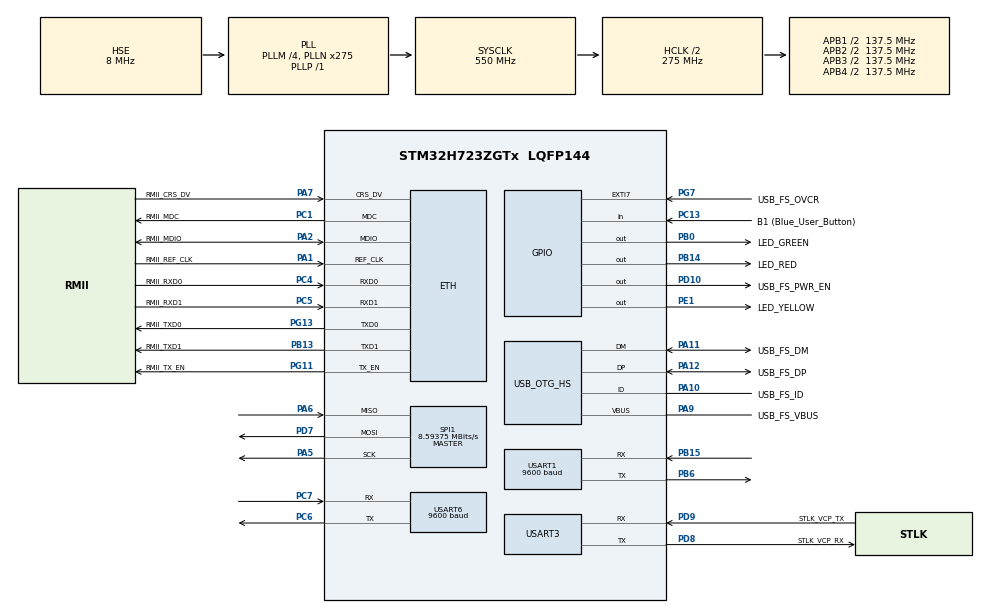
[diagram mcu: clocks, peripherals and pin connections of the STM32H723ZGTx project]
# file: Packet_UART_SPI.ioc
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Dma.Request0=USART1_RX
Dma.Request1=USART6_RX
Dma.Request2=SPI1_TX
Dma.SPI1_TX.2.Direction=DMA_MEMORY_TO_PERIPH
Dma.SPI1_TX.2.EventEnable=DISABLE
Dma.SPI1_TX.2.FIFOMode=DMA_FIFOMODE_DISABLE
Dma.SPI1_TX.2.Instance=DMA1_Stream2
Dma.SPI1_TX.2.MemDataAlignment=DMA_MDATAALIGN_BYTE
Dma.SPI1_TX.2.MemInc=DMA_MINC_ENABLE
Dma.SPI1_TX.2.Mode=DMA_NORMAL
Dma.SPI1_TX.2.PeriphDataAlignment=DMA_PDATAALIGN_BYTE
Dma.SPI1_TX.2.PeriphInc=DMA_PINC_DISABLE
Dma.SPI1_TX.2.Polarity=HAL_DMAMUX_REQ_GEN_RISING
Dma.SPI1_TX.2.Priority=DMA_PRIORITY_LOW
Dma.SPI1_TX.2.RequestNumber=1
Dma.SPI1_TX.2.SignalID=NONE
Dma.SPI1_TX.2.SyncEnable=DISABLE
Dma.SPI1_TX.2.SyncPolarity=HAL_DMAMUX_SYNC_NO_EVENT
Dma.SPI1_TX.2.SyncRequestNumber=1
Dma.SPI1_TX.2.SyncSignalID=NONE
Dma.USART1_RX.0.Direction=DMA_PERIPH_TO_MEMORY
Dma.USART1_RX.0.EventEnable=DISABLE
Dma.USART1_RX.0.FIFOMode=DMA_FIFOMODE_DISABLE
Dma.USART1_RX.0.Instance=DMA1_Stream0
Dma.USART1_RX.0.MemDataAlignment=DMA_MDATAALIGN_BYTE
Dma.USART1_RX.0.MemInc=DMA_MINC_ENABLE
Dma.USART1_RX.0.Mode=DMA_NORMAL
Dma.USART1_RX.0.PeriphDataAlignment=DMA_PDATAALIGN_BYTE
Dma.USART1_RX.0.PeriphInc=DMA_PINC_DISABLE
Dma.USART1_RX.0.Polarity=HAL_DMAMUX_REQ_GEN_RISING
Dma.USART1_RX.0.Priority=DMA_PRIORITY_LOW
Dma.USART1_RX.0.RequestNumber=1
Dma.USART1_RX.0.SignalID=NONE
Dma.USART1_RX.0.SyncEnable=DISABLE
Dma.USART1_RX.0.SyncPolarity=HAL_DMAMUX_SYNC_NO_EVENT
Dma.USART1_RX.0.SyncRequestNumber=1
Dma.USART1_RX.0.SyncSignalID=NONE
Dma.USART6_RX.1.Direction=DMA_PERIPH_TO_MEMORY
Dma.USART6_RX.1.EventEnable=DISABLE
Dma.USART6_RX.1.FIFOMode=DMA_FIFOMODE_DISABLE
Dma.USART6_RX.1.Instance=DMA1_Stream1
Dma.USART6_RX.1.MemDataAlignment=DMA_MDATAALIGN_BYTE
Dma.USART6_RX.1.MemInc=DMA_MINC_ENABLE
Dma.USART6_RX.1.Mode=DMA_NORMAL
Dma.USART6_RX.1.PeriphDataAlignment=DMA_PDATAALIGN_BYTE
Dma.USART6_RX.1.PeriphInc=DMA_PINC_DISABLE
Dma.USART6_RX.1.Polarity=HAL_DMAMUX_REQ_GEN_RISING
Dma.USART6_RX.1.Priority=DMA_PRIORITY_LOW
Dma.USART6_RX.1.RequestNumber=1
Dma.USART6_RX.1.SignalID=NONE
Dma.USART6_RX.1.SyncEnable=DISABLE
Dma.USART6_RX.1.SyncPolarity=HAL_DMAMUX_SYNC_NO_EVENT
Dma.USART6_RX.1.SyncRequestNumber=1
Dma.USART6_RX.1.SyncSignalID=NONE
ETH.MediaInterface=HAL_ETH_RMII_MODE
Mcu.Family=STM32H7
Mcu.Name=STM32H723ZGTx
Mcu.Package=LQFP144
NVIC.DMA1_Stream0_IRQn=true\:0\:0\:false\:false\:true\:false\:true\:true
NVIC.DMA1_Stream1_IRQn=true\:0\:0\:false\:false\:true\:false\:true\:true
NVIC.DMA1_Stream2_IRQn=true\:0\:0\:false\:false\:true\:false\:true\:true
NVIC.EXTI9_5_IRQn=true\:0\:0\:false\:false\:true\:true\:true\:true
NVIC.PriorityGroup=NVIC_PRIORITYGROUP_4
NVIC.SPI1_IRQn=true\:0\:0\:false\:false\:true\:true\:true\:true
NVIC.TIM16_IRQn=true\:0\:0\:false\:false\:true\:true\:true\:true
NVIC.TIM17_IRQn=true\:0\:0\:false\:false\:true\:true\:true\:true
NVIC.USART1_IRQn=true\:0\:0\:false\:false\:true\:true\:true\:true
NVIC.USART6_IRQn=true\:0\:0\:false\:false\:true\:true\:true\:true
PA1.GPIO_Label=RMII_REF_CLK
PA1.Mode=RMII
PA1.Signal=ETH_REF_CLK
PA10.GPIO_Label=USB_FS_ID
PA10.Mode=OTG/Dual-Role-Device-FS
PA10.Signal=USB_OTG_HS_ID
PA11.GPIO_Label=USB_FS_DM
PA11.Mode=OTG/Dual-Role-Device-FS
PA11.Signal=USB_OTG_HS_DM
PA12.GPIO_Label=USB_FS_DP
PA12.Mode=OTG/Dual-Role-Device-FS
PA12.Signal=USB_OTG_HS_DP
PA13(JTMS/SWDIO).GPIO_Label=SWDIO
PA13(JTMS/SWDIO).Mode=Trace_Asynchronous_SW
PA13(JTMS/SWDIO).Signal=DEBUG_JTMS-SWDIO
PA14(JTCK/SWCLK).GPIO_Label=SWCLK
PA14(JTCK/SWCLK).Mode=Trace_Asynchronous_SW
PA14(JTCK/SWCLK).Signal=DEBUG_JTCK-SWCLK
PA2.GPIO_Label=RMII_MDIO
PA2.Mode=RMII
PA2.Signal=ETH_MDIO
PA5.Mode=Full_Duplex_Master
PA5.Signal=SPI1_SCK
PA6.Mode=Full_Duplex_Master
PA6.Signal=SPI1_MISO
PA7.GPIO_Label=RMII_CRS_DV
PA7.Mode=RMII
PA7.Signal=ETH_CRS_DV
PA9.GPIO_Label=USB_FS_VBUS
PA9.Mode=Activate_VBUS_FS
PA9.Signal=USB_OTG_HS_VBUS
PB0.GPIO_Label=LED_GREEN
PB0.Signal=GPIO_Output
PB13.GPIO_Label=RMII_TXD1
PB13.Mode=RMII
PB13.Signal=ETH_TXD1
PB14.GPIO_Label=LED_RED
PB14.Signal=GPIO_Output
PB15.Mode=Asynchronous
PB15.Signal=USART1_RX
PB3(JTDO/TRACESWO).GPIO_Label=SWO
PB3(JTDO/TRACESWO).Mode=Trace_Asynchronous_SW
PB3(JTDO/TRACESWO).Signal=DEBUG_JTDO-SWO
PB6.Mode=Asynchronous
PB6.Signal=USART1_TX
PC1.GPIO_Label=RMII_MDC
PC1.Mode=RMII
PC1.Signal=ETH_MDC
PC13.GPIO_Label=B1 (Blue_User_Button)
PC13.Signal=GPIO_Input
PC14-OSC32_IN.Mode=LSE-External-Oscillator
PC14-OSC32_IN.Signal=RCC_OSC32_IN
PC15-OSC32_OUT.Mode=LSE-External-Oscillator
PC15-OSC32_OUT.Signal=RCC_OSC32_OUT
PC4.GPIO_Label=RMII_RXD0
PC4.Mode=RMII
PC4.Signal=ETH_RXD0
PC5.GPIO_Label=RMII_RXD1
PC5.Mode=RMII
PC5.Signal=ETH_RXD1
PC6.Mode=Asynchronous
PC6.Signal=USART6_TX
PC7.Mode=Asynchronous
PC7.Signal=USART6_RX
PD10.GPIO_Label=USB_FS_PWR_EN
PD10.Signal=GPIO_Output
PD7.Mode=Full_Duplex_Master
PD7.Signal=SPI1_MOSI
PD8.GPIO_Label=STLK_VCP_RX
PD8.Mode=Asynchronous
PD8.Signal=USART3_TX
PD9.GPIO_Label=STLK_VCP_TX
PD9.Mode=Asynchronous
PD9.Signal=USART3_RX
PE1.GPIO_Label=LED_YELLOW
PE1.Signal=GPIO_Output
PG11.GPIO_Label=RMII_TX_EN
PG11.Mode=RMII
PG11.Signal=ETH_TX_EN
PG13.GPIO_Label=RMII_TXD0
PG13.Mode=RMII
PG13.Signal=ETH_TXD0
PG7.GPIO_Label=USB_FS_OVCR
PG7.Signal=GPXTI7
PH0-OSC_IN.GPIO_Label=MCO
PH0-OSC_IN.Mode=HSE-External-Clock-Source
PH0-OSC_IN.Signal=RCC_OSC_IN
PH1-OSC_OUT.Signal=RCC_OSC_OUT
ProjectManager.HeapSize=0x200
ProjectManager.StackSize=0x400
ProjectManager.TargetToolchain=STM32CubeIDE
RCC.ADCFreq_Value=76000000
RCC.APB1Freq_Value=137500000
RCC.APB2Freq_Value=137500000
RCC.APB3Freq_Value=137500000
RCC.APB4Freq_Value=137500000
RCC.CortexFreq_Value=550000000
RCC.D1PPRE=RCC_APB3_DIV2
RCC.D2PPRE1=RCC_APB1_DIV2
RCC.D2PPRE2=RCC_APB2_DIV2
RCC.D3PPRE=RCC_APB4_DIV2
RCC.DIVM1=4
RCC.DIVM2=1
RCC.DIVN1=275
RCC.DIVN2=19
RCC.DIVP1=1
RCC.DIVQ1=4
RCC.HCLKFreq_Value=275000000
RCC.HPRE=RCC_HCLK_DIV2
RCC.HSE_VALUE=8000000
RCC.PLLFRACN=0
RCC.PLLSourceVirtual=RCC_PLLSOURCE_HSE
RCC.SYSCLKFreq_VALUE=550000000
RCC.SYSCLKSource=RCC_SYSCLKSOURCE_PLLCLK
RCC.USBCLockSelection=RCC_USBCLKSOURCE_HSI48
RCC.USBFreq_Value=48000000
SPI1.BaudRatePrescaler=SPI_BAUDRATEPRESCALER_16
SPI1.CalculateBaudRate=8.59375 MBits/s
SPI1.DataSize=SPI_DATASIZE_8BIT
SPI1.Direction=SPI_DIRECTION_2LINES
SPI1.Mode=SPI_MODE_MASTER
SPI1.VirtualType=VM_MASTER
TIM16.Period=10000-1
TIM16.Prescaler=27500-1
TIM17.Period=10000-1
TIM17.Prescaler=27500-1
USART1.BaudRate=9600
USART1.VirtualMode-Asynchronous=VM_ASYNC
USART3.VirtualMode-Asynchronous=VM_ASYNC
USART6.BaudRate=9600
USART6.VirtualMode-Asynchronous=VM_ASYNC
VP_TIM16_VS_ClockSourceINT.Mode=Enable_Timer
VP_TIM17_VS_ClockSourceINT.Mode=Enable_Timer
board=NUCLEO-H723ZG

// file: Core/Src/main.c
/* USER CODE BEGIN Header */
/**
  ******************************************************************************
  * @file           : main.c
  * @brief          : Main program body
  ******************************************************************************
  * @attention
  *
  * Copyright (c) 2024 STMicroelectronics.
  * All rights reserved.
  *
  * This software is licensed under terms that can be found in the LICENSE file
  * in the root directory of this software component.
  * If no LICENSE file comes with this software, it is provided AS-IS.
  *
  ******************************************************************************
  */
/* USER CODE END Header */
#include "main.h"
#include "string.h"

/* USER CODE BEGIN PD */
#define FIFO_SIZE  8

/* USER CODE END PD */

#if defined ( __ICCARM__ ) /*!< IAR Compiler */
#pragma location=0x30000000
ETH_DMADescTypeDef  DMARxDscrTab[ETH_RX_DESC_CNT]; /* Ethernet Rx DMA Descriptors */
#pragma location=0x30000200
ETH_DMADescTypeDef  DMATxDscrTab[ETH_TX_DESC_CNT]; /* Ethernet Tx DMA Descriptors */

#elif defined ( __CC_ARM )  /* MDK ARM Compiler */

__attribute__((at(0x30000000))) ETH_DMADescTypeDef  DMARxDscrTab[ETH_RX_DESC_CNT]; /* Ethernet Rx DMA Descriptors */
__attribute__((at(0x30000200))) ETH_DMADescTypeDef  DMATxDscrTab[ETH_TX_DESC_CNT]; /* Ethernet Tx DMA Descriptors */

#elif defined ( __GNUC__ ) /* GNU Compiler */
ETH_DMADescTypeDef DMARxDscrTab[ETH_RX_DESC_CNT] __attribute__((section(".RxDecripSection"))); /* Ethernet Rx DMA Descriptors */
ETH_DMADescTypeDef DMATxDscrTab[ETH_TX_DESC_CNT] __attribute__((section(".TxDecripSection")));   /* Ethernet Tx DMA Descriptors */

#endif

ETH_TxPacketConfig TxConfig;

ETH_HandleTypeDef heth;

SPI_HandleTypeDef hspi1;
DMA_HandleTypeDef hdma_spi1_tx;

TIM_HandleTypeDef htim16;
TIM_HandleTypeDef htim17;

UART_HandleTypeDef huart1;
UART_HandleTypeDef huart3;
UART_HandleTypeDef huart6;
DMA_HandleTypeDef hdma_usart1_rx;
DMA_HandleTypeDef hdma_usart6_rx;

void SystemClock_Config(void);
static void MX_GPIO_Init(void);
static void MX_DMA_Init(void);
static void MX_USART3_UART_Init(void);
static void MX_USB_OTG_HS_USB_Init(void);
static void MX_USART1_UART_Init(void);
static void MX_ETH_Init(void);
static void MX_TIM16_Init(void);
static void MX_USART6_UART_Init(void);
static void MX_TIM17_Init(void);
static void MX_SPI1_Init(void);

/* USER CODE BEGIN 0 */
uint8_t rx_buff[5];
uint16_t timer_val;
uint8_t counter = 0;
uint8_t test_buff[5];

char *PutPt;
char *GetPt;
char Fifo[FIFO_SIZE];

int GetFifo(uint8_t* data);
int PutFifo(char data);
void InitFifo(void);

void test();

/* USER CODE END 0 */

int main(void)
{

  /* MCU Configuration--------------------------------------------------------*/

  /* Reset of all peripherals, Initializes the Flash interface and the Systick. */
  HAL_Init();

  /* USER CODE BEGIN Init */
  void InitFifo(void);

  /* USER CODE END Init */

  /* Configure the system clock */
  SystemClock_Config();

  /* Initialize all configured peripherals */
  MX_GPIO_Init();
  MX_DMA_Init();
  MX_USART3_UART_Init();
  MX_USB_OTG_HS_USB_Init();
  MX_USART1_UART_Init();
  MX_ETH_Init();
  MX_TIM16_Init();
  MX_USART6_UART_Init();
  MX_TIM17_Init();
  MX_SPI1_Init();
  /* USER CODE BEGIN 2 */
  HAL_UART_Receive_DMA(&huart1, rx_buff, 1);
  HAL_UART_Receive_DMA(&huart6, rx_buff, 1);

  //HAL_UART_Receive(&huart1, rx_buff, 12, 70000);

  if (HAL_TIM_Base_Start_IT(&htim16) != HAL_OK)
  {
    /* Starting Error */
    Error_Handler();
  }
  if (HAL_TIM_Base_Start_IT(&htim17) != HAL_OK)
  {
    /* Starting Error */
    Error_Handler();
  }

  //timer_val = __HAL_TIM_GET_COUNTER(&htim16);
  /* USER CODE END 2 */

  /* Infinite loop */
  while (1)
  {

    /* USER CODE BEGIN 3 */
	 // if (__HAL_TIM_GET_COUNTER(&htim16) - timer_val >= 10000)
	 // {
		//  test();
		//  HAL_GPIO_TogglePin(GPIOB, GPIO_PIN_0);
		//  timer_val = __HAL_TIM_GET_COUNTER(&htim16);
	 // }

	 // HAL_UART_Receive(&huart1, rx_buff, 12, 1000);
	  HAL_GPIO_TogglePin(GPIOB, GPIO_PIN_14);
	  HAL_Delay(1000);

	  //HAL_GPIO_TogglePin(GPIOB, GPIO_PIN_0);
	  //HAL_GPIO_TogglePin(GPIOB, GPIO_PIN_14);
	  //HAL_Delay(1000);
  }
  /* USER CODE END 3 */
}

void SystemClock_Config(void)
{
  RCC_OscInitTypeDef RCC_OscInitStruct = {0};
  RCC_ClkInitTypeDef RCC_ClkInitStruct = {0};

  /** Supply configuration update enable
  */
  HAL_PWREx_ConfigSupply(PWR_LDO_SUPPLY);

  /** Configure the main internal regulator output voltage
  */
  __HAL_PWR_VOLTAGESCALING_CONFIG(PWR_REGULATOR_VOLTAGE_SCALE0);

  while(!__HAL_PWR_GET_FLAG(PWR_FLAG_VOSRDY)) {}

  /** Initializes the RCC Oscillators according to the specified parameters
  * in the RCC_OscInitTypeDef structure.
  */
  RCC_OscInitStruct.OscillatorType = RCC_OSCILLATORTYPE_HSI48|RCC_OSCILLATORTYPE_HSE;
  RCC_OscInitStruct.HSEState = RCC_HSE_BYPASS;
  RCC_OscInitStruct.HSI48State = RCC_HSI48_ON;
  RCC_OscInitStruct.PLL.PLLState = RCC_PLL_ON;
  RCC_OscInitStruct.PLL.PLLSource = RCC_PLLSOURCE_HSE;
  RCC_OscInitStruct.PLL.PLLM = 4;
  RCC_OscInitStruct.PLL.PLLN = 275;
  RCC_OscInitStruct.PLL.PLLP = 1;
  RCC_OscInitStruct.PLL.PLLQ = 4;
  RCC_OscInitStruct.PLL.PLLR = 2;
  RCC_OscInitStruct.PLL.PLLRGE = RCC_PLL1VCIRANGE_1;
  RCC_OscInitStruct.PLL.PLLVCOSEL = RCC_PLL1VCOWIDE;
  RCC_OscInitStruct.PLL.PLLFRACN = 0;
  if (HAL_RCC_OscConfig(&RCC_OscInitStruct) != HAL_OK)
  {
    Error_Handler();
  }

  /** Initializes the CPU, AHB and APB buses clocks
  */
  RCC_ClkInitStruct.ClockType = RCC_CLOCKTYPE_HCLK|RCC_CLOCKTYPE_SYSCLK
                              |RCC_CLOCKTYPE_PCLK1|RCC_CLOCKTYPE_PCLK2
                              |RCC_CLOCKTYPE_D3PCLK1|RCC_CLOCKTYPE_D1PCLK1;
  RCC_ClkInitStruct.SYSCLKSource = RCC_SYSCLKSOURCE_PLLCLK;
  RCC_ClkInitStruct.SYSCLKDivider = RCC_SYSCLK_DIV1;
  RCC_ClkInitStruct.AHBCLKDivider = RCC_HCLK_DIV2;
  RCC_ClkInitStruct.APB3CLKDivider = RCC_APB3_DIV2;
  RCC_ClkInitStruct.APB1CLKDivider = RCC_APB1_DIV2;
  RCC_ClkInitStruct.APB2CLKDivider = RCC_APB2_DIV2;
  RCC_ClkInitStruct.APB4CLKDivider = RCC_APB4_DIV2;

  if (HAL_RCC_ClockConfig(&RCC_ClkInitStruct, FLASH_LATENCY_3) != HAL_OK)
  {
    Error_Handler();
  }
}

static void MX_ETH_Init(void)
{

   static uint8_t MACAddr[6];

  heth.Instance = ETH;
  MACAddr[0] = 0x00;
  MACAddr[1] = 0x80;
  MACAddr[2] = 0xE1;
  MACAddr[3] = 0x00;
  MACAddr[4] = 0x00;
  MACAddr[5] = 0x00;
  heth.Init.MACAddr = &MACAddr[0];
  heth.Init.MediaInterface = HAL_ETH_RMII_MODE;
  heth.Init.TxDesc = DMATxDscrTab;
  heth.Init.RxDesc = DMARxDscrTab;
  heth.Init.RxBuffLen = 1524;

  if (HAL_ETH_Init(&heth) != HAL_OK)
  {
    Error_Handler();
  }

  memset(&TxConfig, 0 , sizeof(ETH_TxPacketConfig));
  TxConfig.Attributes = ETH_TX_PACKETS_FEATURES_CSUM | ETH_TX_PACKETS_FEATURES_CRCPAD;
  TxConfig.ChecksumCtrl = ETH_CHECKSUM_IPHDR_PAYLOAD_INSERT_PHDR_CALC;
  TxConfig.CRCPadCtrl = ETH_CRC_PAD_INSERT;

}

static void MX_SPI1_Init(void)
{

  /* SPI1 parameter configuration*/
  hspi1.Instance = SPI1;
  hspi1.Init.Mode = SPI_MODE_MASTER;
  hspi1.Init.Direction = SPI_DIRECTION_2LINES;
  hspi1.Init.DataSize = SPI_DATASIZE_8BIT;
  hspi1.Init.CLKPolarity = SPI_POLARITY_LOW;
  hspi1.Init.CLKPhase = SPI_PHASE_1EDGE;
  hspi1.Init.NSS = SPI_NSS_SOFT;
  hspi1.Init.BaudRatePrescaler = SPI_BAUDRATEPRESCALER_16;
  hspi1.Init.FirstBit = SPI_FIRSTBIT_MSB;
  hspi1.Init.TIMode = SPI_TIMODE_DISABLE;
  hspi1.Init.CRCCalculation = SPI_CRCCALCULATION_DISABLE;
  hspi1.Init.CRCPolynomial = 0x0;
  hspi1.Init.NSSPMode = SPI_NSS_PULSE_ENABLE;
  hspi1.Init.NSSPolarity = SPI_NSS_POLARITY_LOW;
  hspi1.Init.FifoThreshold = SPI_FIFO_THRESHOLD_01DATA;
  hspi1.Init.TxCRCInitializationPattern = SPI_CRC_INITIALIZATION_ALL_ZERO_PATTERN;
  hspi1.Init.RxCRCInitializationPattern = SPI_CRC_INITIALIZATION_ALL_ZERO_PATTERN;
  hspi1.Init.MasterSSIdleness = SPI_MASTER_SS_IDLENESS_00CYCLE;
  hspi1.Init.MasterInterDataIdleness = SPI_MASTER_INTERDATA_IDLENESS_00CYCLE;
  hspi1.Init.MasterReceiverAutoSusp = SPI_MASTER_RX_AUTOSUSP_DISABLE;
  hspi1.Init.MasterKeepIOState = SPI_MASTER_KEEP_IO_STATE_DISABLE;
  hspi1.Init.IOSwap = SPI_IO_SWAP_DISABLE;
  if (HAL_SPI_Init(&hspi1) != HAL_OK)
  {
    Error_Handler();
  }

}

static void MX_TIM16_Init(void)
{

  htim16.Instance = TIM16;
  htim16.Init.Prescaler = 27500-1;
  htim16.Init.CounterMode = TIM_COUNTERMODE_UP;
  htim16.Init.Period = 10000-1;
  htim16.Init.ClockDivision = TIM_CLOCKDIVISION_DIV1;
  htim16.Init.RepetitionCounter = 0;
  htim16.Init.AutoReloadPreload = TIM_AUTORELOAD_PRELOAD_DISABLE;
  if (HAL_TIM_Base_Init(&htim16) != HAL_OK)
  {
    Error_Handler();
  }

}

static void MX_TIM17_Init(void)
{

  htim17.Instance = TIM17;
  htim17.Init.Prescaler = 27500-1;
  htim17.Init.CounterMode = TIM_COUNTERMODE_UP;
  htim17.Init.Period = 10000-1;
  htim17.Init.ClockDivision = TIM_CLOCKDIVISION_DIV1;
  htim17.Init.RepetitionCounter = 0;
  htim17.Init.AutoReloadPreload = TIM_AUTORELOAD_PRELOAD_DISABLE;
  if (HAL_TIM_Base_Init(&htim17) != HAL_OK)
  {
    Error_Handler();
  }

}

static void MX_USART1_UART_Init(void)
{

  huart1.Instance = USART1;
  huart1.Init.BaudRate = 9600;
  huart1.Init.WordLength = UART_WORDLENGTH_8B;
  huart1.Init.StopBits = UART_STOPBITS_1;
  huart1.Init.Parity = UART_PARITY_NONE;
  huart1.Init.Mode = UART_MODE_TX_RX;
  huart1.Init.HwFlowCtl = UART_HWCONTROL_NONE;
  huart1.Init.OverSampling = UART_OVERSAMPLING_16;
  huart1.Init.OneBitSampling = UART_ONE_BIT_SAMPLE_DISABLE;
  huart1.Init.ClockPrescaler = UART_PRESCALER_DIV1;
  huart1.AdvancedInit.AdvFeatureInit = UART_ADVFEATURE_NO_INIT;
  if (HAL_UART_Init(&huart1) != HAL_OK)
  {
    Error_Handler();
  }
  if (HAL_UARTEx_SetTxFifoThreshold(&huart1, UART_TXFIFO_THRESHOLD_1_8) != HAL_OK)
  {
    Error_Handler();
  }
  if (HAL_UARTEx_SetRxFifoThreshold(&huart1, UART_RXFIFO_THRESHOLD_1_8) != HAL_OK)
  {
    Error_Handler();
  }
  if (HAL_UARTEx_DisableFifoMode(&huart1) != HAL_OK)
  {
    Error_Handler();
  }

}

static void MX_USART3_UART_Init(void)
{

  huart3.Instance = USART3;
  huart3.Init.BaudRate = 115200;
  huart3.Init.WordLength = UART_WORDLENGTH_8B;
  huart3.Init.StopBits = UART_STOPBITS_1;
  huart3.Init.Parity = UART_PARITY_NONE;
  huart3.Init.Mode = UART_MODE_TX_RX;
  huart3.Init.HwFlowCtl = UART_HWCONTROL_NONE;
  huart3.Init.OverSampling = UART_OVERSAMPLING_16;
  huart3.Init.OneBitSampling = UART_ONE_BIT_SAMPLE_DISABLE;
  huart3.Init.ClockPrescaler = UART_PRESCALER_DIV1;
  huart3.AdvancedInit.AdvFeatureInit = UART_ADVFEATURE_NO_INIT;
  if (HAL_UART_Init(&huart3) != HAL_OK)
  {
    Error_Handler();
  }
  if (HAL_UARTEx_SetTxFifoThreshold(&huart3, UART_TXFIFO_THRESHOLD_1_8) != HAL_OK)
  {
    Error_Handler();
  }
  if (HAL_UARTEx_SetRxFifoThreshold(&huart3, UART_RXFIFO_THRESHOLD_1_8) != HAL_OK)
  {
    Error_Handler();
  }
  if (HAL_UARTEx_DisableFifoMode(&huart3) != HAL_OK)
  {
    Error_Handler();
  }

}

static void MX_USART6_UART_Init(void)
{

  huart6.Instance = USART6;
  huart6.Init.BaudRate = 9600;
  huart6.Init.WordLength = UART_WORDLENGTH_8B;
  huart6.Init.StopBits = UART_STOPBITS_1;
  huart6.Init.Parity = UART_PARITY_NONE;
  huart6.Init.Mode = UART_MODE_TX_RX;
  huart6.Init.HwFlowCtl = UART_HWCONTROL_NONE;
  huart6.Init.OverSampling = UART_OVERSAMPLING_16;
  huart6.Init.OneBitSampling = UART_ONE_BIT_SAMPLE_DISABLE;
  huart6.Init.ClockPrescaler = UART_PRESCALER_DIV1;
  huart6.AdvancedInit.AdvFeatureInit = UART_ADVFEATURE_NO_INIT;
  if (HAL_UART_Init(&huart6) != HAL_OK)
  {
    Error_Handler();
  }
  if (HAL_UARTEx_SetTxFifoThreshold(&huart6, UART_TXFIFO_THRESHOLD_1_8) != HAL_OK)
  {
    Error_Handler();
  }
  if (HAL_UARTEx_SetRxFifoThreshold(&huart6, UART_RXFIFO_THRESHOLD_1_8) != HAL_OK)
  {
    Error_Handler();
  }
  if (HAL_UARTEx_DisableFifoMode(&huart6) != HAL_OK)
  {
    Error_Handler();
  }

}

static void MX_USB_OTG_HS_USB_Init(void)
{

}

static void MX_DMA_Init(void)
{

  /* DMA controller clock enable */
  __HAL_RCC_DMA1_CLK_ENABLE();

  /* DMA interrupt init */
  /* DMA1_Stream0_IRQn interrupt configuration */
  HAL_NVIC_SetPriority(DMA1_Stream0_IRQn, 0, 0);
  HAL_NVIC_EnableIRQ(DMA1_Stream0_IRQn);
  /* DMA1_Stream1_IRQn interrupt configuration */
  HAL_NVIC_SetPriority(DMA1_Stream1_IRQn, 0, 0);
  HAL_NVIC_EnableIRQ(DMA1_Stream1_IRQn);
  /* DMA1_Stream2_IRQn interrupt configuration */
  HAL_NVIC_SetPriority(DMA1_Stream2_IRQn, 0, 0);
  HAL_NVIC_EnableIRQ(DMA1_Stream2_IRQn);

}

static void MX_GPIO_Init(void)
{
  GPIO_InitTypeDef GPIO_InitStruct = {0};

  /* GPIO Ports Clock Enable */
  __HAL_RCC_GPIOC_CLK_ENABLE();
  __HAL_RCC_GPIOH_CLK_ENABLE();
  __HAL_RCC_GPIOA_CLK_ENABLE();
  __HAL_RCC_GPIOB_CLK_ENABLE();
  __HAL_RCC_GPIOD_CLK_ENABLE();
  __HAL_RCC_GPIOG_CLK_ENABLE();
  __HAL_RCC_GPIOE_CLK_ENABLE();

  /*Configure GPIO pin Output Level */
  HAL_GPIO_WritePin(GPIOB, LED_GREEN_Pin|LED_RED_Pin, GPIO_PIN_RESET);

  /*Configure GPIO pin Output Level */
  HAL_GPIO_WritePin(USB_FS_PWR_EN_GPIO_Port, USB_FS_PWR_EN_Pin, GPIO_PIN_RESET);

  /*Configure GPIO pin Output Level */
  HAL_GPIO_WritePin(LED_YELLOW_GPIO_Port, LED_YELLOW_Pin, GPIO_PIN_RESET);

  /*Configure GPIO pin : B1_Pin */
  GPIO_InitStruct.Pin = B1_Pin;
  GPIO_InitStruct.Mode = GPIO_MODE_INPUT;
  GPIO_InitStruct.Pull = GPIO_NOPULL;
  HAL_GPIO_Init(B1_GPIO_Port, &GPIO_InitStruct);

  /*Configure GPIO pins : LED_GREEN_Pin LED_RED_Pin */
  GPIO_InitStruct.Pin = LED_GREEN_Pin|LED_RED_Pin;
  GPIO_InitStruct.Mode = GPIO_MODE_OUTPUT_PP;
  GPIO_InitStruct.Pull = GPIO_NOPULL;
  GPIO_InitStruct.Speed = GPIO_SPEED_FREQ_LOW;
  HAL_GPIO_Init(GPIOB, &GPIO_InitStruct);

  /*Configure GPIO pin : USB_FS_PWR_EN_Pin */
  GPIO_InitStruct.Pin = USB_FS_PWR_EN_Pin;
  GPIO_InitStruct.Mode = GPIO_MODE_OUTPUT_PP;
  GPIO_InitStruct.Pull = GPIO_NOPULL;
  GPIO_InitStruct.Speed = GPIO_SPEED_FREQ_LOW;
  HAL_GPIO_Init(USB_FS_PWR_EN_GPIO_Port, &GPIO_InitStruct);

  /*Configure GPIO pin : USB_FS_OVCR_Pin */
  GPIO_InitStruct.Pin = USB_FS_OVCR_Pin;
  GPIO_InitStruct.Mode = GPIO_MODE_IT_RISING;
  GPIO_InitStruct.Pull = GPIO_NOPULL;
  HAL_GPIO_Init(USB_FS_OVCR_GPIO_Port, &GPIO_InitStruct);

  /*Configure GPIO pin : USB_FS_VBUS_Pin */
  GPIO_InitStruct.Pin = USB_FS_VBUS_Pin;
  GPIO_InitStruct.Mode = GPIO_MODE_INPUT;
  GPIO_InitStruct.Pull = GPIO_NOPULL;
  HAL_GPIO_Init(USB_FS_VBUS_GPIO_Port, &GPIO_InitStruct);

  /*Configure GPIO pin : USB_FS_ID_Pin */
  GPIO_InitStruct.Pin = USB_FS_ID_Pin;
  GPIO_InitStruct.Mode = GPIO_MODE_AF_PP;
  GPIO_InitStruct.Pull = GPIO_NOPULL;
  GPIO_InitStruct.Speed = GPIO_SPEED_FREQ_LOW;
  GPIO_InitStruct.Alternate = GPIO_AF10_OTG1_HS;
  HAL_GPIO_Init(USB_FS_ID_GPIO_Port, &GPIO_InitStruct);

  /*Configure GPIO pin : LED_YELLOW_Pin */
  GPIO_InitStruct.Pin = LED_YELLOW_Pin;
  GPIO_InitStruct.Mode = GPIO_MODE_OUTPUT_PP;
  GPIO_InitStruct.Pull = GPIO_NOPULL;
  GPIO_InitStruct.Speed = GPIO_SPEED_FREQ_LOW;
  HAL_GPIO_Init(LED_YELLOW_GPIO_Port, &GPIO_InitStruct);

  /* EXTI interrupt init*/
  HAL_NVIC_SetPriority(EXTI9_5_IRQn, 0, 0);
  HAL_NVIC_EnableIRQ(EXTI9_5_IRQn);

}

/* USER CODE BEGIN 4 */

void HAL_UART_RxCpltCallback(UART_HandleTypeDef *huart){

	counter++;
	PutFifo(rx_buff[0]);
	HAL_UART_Receive_DMA(&huart6, rx_buff, 1);
	if(counter >= 5){
		for(int i = 0; i < 5; i++){
				GetFifo(&test_buff[i]);
				counter = 0;

		}
		if(HAL_SPI_Transmit_IT(&hspi1, test_buff, sizeof(test_buff)) != HAL_OK){
			HAL_GPIO_TogglePin(GPIOE, GPIO_PIN_1);
		}
	}

}

void HAL_SPI_TxCpltCallback(SPI_HandleTypeDef * hspi){
	HAL_GPIO_TogglePin(GPIOB, GPIO_PIN_0);
}

void InitFifo(void) {

    PutPt = GetPt = &Fifo[0];
}

int PutFifo(char data) {

    char* Ppt;

    Ppt = PutPt;

    *(Ppt++) = data;

    if (Ppt == &Fifo[FIFO_SIZE]) {

        Ppt = &Fifo[0]; // wrap around

    }

    if (Ppt == GetPt) {
        return 0; // buffer full so fail
    }

    PutPt = Ppt;

    return 1;

}

int GetFifo(uint8_t* data) {

    if (GetPt == PutPt) {

        return 0; // buffer is empty
    }
    //data pointer gets pointed to the next GetPointer
    *data = *(GetPt++);
    if (GetPt == &Fifo[FIFO_SIZE]) {

        GetPt = &Fifo[0];
    }
    return 1;
}

void HAL_TIM_PeriodElapsedHalfCpltCallback(TIM_HandleTypeDef *htim){
	__NOP();
}

void HAL_TIM_PeriodElaspsedCallback(TIM_HandleTypeDef *htim)
{
	__NOP();
	if (htim == &htim16)
	{
		HAL_GPIO_TogglePin(GPIOB, GPIO_PIN_0);

	}
}

void test()
{
	  HAL_GPIO_TogglePin(GPIOB, GPIO_PIN_0);
	  timer_val = __HAL_TIM_GET_COUNTER(&htim16);
}

/* USER CODE END 4 */

void Error_Handler(void)
{
  __disable_irq();
  while (1)
  {
  }
}
